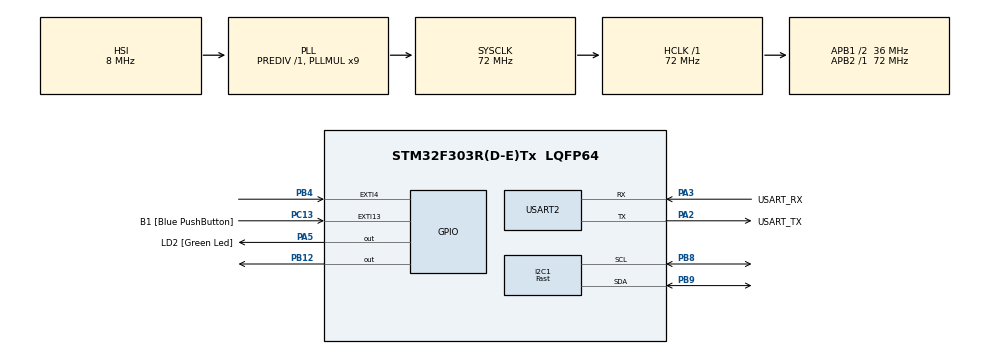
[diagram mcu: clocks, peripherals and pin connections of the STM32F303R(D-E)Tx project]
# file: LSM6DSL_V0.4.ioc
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I2C1.I2C_Speed_Mode=I2C_Fast
I2C1.Timing=0x0010020A
Mcu.Family=STM32F3
Mcu.Name=STM32F303R(D-E)Tx
Mcu.Package=LQFP64
NVIC.EXTI4_IRQn=true\:0\:0\:false\:false\:true\:true\:true\:true
NVIC.PriorityGroup=NVIC_PRIORITYGROUP_0
PA13.GPIO_Label=TMS
PA13.Mode=Trace_Asynchronous_SW
PA13.Signal=SYS_JTMS-SWDIO
PA14.GPIO_Label=TCK
PA14.Mode=Trace_Asynchronous_SW
PA14.Signal=SYS_JTCK-SWCLK
PA2.GPIO_Label=USART_TX
PA2.GPIO_Mode=GPIO_MODE_AF_PP
PA2.GPIO_PuPd=GPIO_NOPULL
PA2.GPIO_Speed=GPIO_SPEED_FREQ_LOW
PA2.Mode=Asynchronous
PA2.Signal=USART2_TX
PA3.GPIO_Label=USART_RX
PA3.GPIO_Mode=GPIO_MODE_AF_PP
PA3.GPIO_PuPd=GPIO_NOPULL
PA3.GPIO_Speed=GPIO_SPEED_FREQ_LOW
PA3.Mode=Asynchronous
PA3.Signal=USART2_RX
PA5.GPIO_Label=LD2 [Green Led]
PA5.GPIO_Mode=GPIO_MODE_OUTPUT_PP
PA5.GPIO_PuPd=GPIO_NOPULL
PA5.GPIO_Speed=GPIO_SPEED_FREQ_LOW
PA5.Signal=GPIO_Output
PB12.Signal=GPIO_Output
PB3.GPIO_Label=SWO
PB3.Mode=Trace_Asynchronous_SW
PB3.Signal=SYS_JTDO-TRACESWO
PB4.Signal=GPXTI4
PB8.GPIO_FM8=SYSCFG_CFGR1_I2C_PB8_FMP
PB8.GPIO_Pu=GPIO_PULLUP
PB8.Mode=I2C
PB8.Signal=I2C1_SCL
PB9.GPIO_FM9=SYSCFG_CFGR1_I2C_PB9_FMP
PB9.GPIO_Pu=GPIO_PULLUP
PB9.Mode=I2C
PB9.Signal=I2C1_SDA
PC13.GPIO_Label=B1 [Blue PushButton]
PC13.GPIO_ModeDefaultEXTI=GPIO_MODE_IT_FALLING
PC13.Signal=GPXTI13
PC14-OSC32_IN.Mode=LSE-External-Oscillator
PC14-OSC32_IN.Signal=RCC_OSC32_IN
PC15-OSC32_OUT.Mode=LSE-External-Oscillator
PC15-OSC32_OUT.Signal=RCC_OSC32_OUT
PF0-OSC_IN.Mode=HSE-External-Clock-Source
PF0-OSC_IN.Signal=RCC_OSC_IN
PF1-OSC_OUT.Signal=RCC_OSC_OUT
ProjectManager.HeapSize=0x200
ProjectManager.StackSize=0x400
ProjectManager.TargetToolchain=STM32CubeIDE
RCC.AHBFreq_Value=72000000
RCC.APB1CLKDivider=RCC_HCLK_DIV2
RCC.APB1Freq_Value=36000000
RCC.APB1TimFreq_Value=72000000
RCC.APB2Freq_Value=72000000
RCC.APB2TimFreq_Value=72000000
RCC.CortexFreq_Value=72000000
RCC.HCLKFreq_Value=72000000
RCC.HSE_VALUE=8000000
RCC.HSI_VALUE=8000000
RCC.PLLM=8
RCC.PLLMUL=RCC_PLL_MUL9
RCC.PLLN=336
RCC.PLLP=RCC_PLLP_DIV4
RCC.PLLQ=7
RCC.RCC_PLLsource_Clock_Source_FROM_HSE=RCC_HSE_PREDIV_DIV2
RCC.SYSCLKFreq_VALUE=72000000
RCC.SYSCLKSourceVirtual=RCC_SYSCLKSOURCE_PLLCLK
RCC.USBFreq_Value=72000000
USART2.VirtualMode-Asynchronous=VM_ASYNC
board=NUCLEO-F303RE

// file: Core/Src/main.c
/* USER CODE BEGIN Header */
/**
  ******************************************************************************
  * @file           : main.c
  * @brief          : Main program body
  ******************************************************************************
  * @attention
  *
  * Copyright (c) 2024 STMicroelectronics.
  * All rights reserved.
  *
  * This software is licensed under terms that can be found in the LICENSE file
  * in the root directory of this software component.
  * If no LICENSE file comes with this software, it is provided AS-IS.
  *
  ******************************************************************************
  */
/* USER CODE END Header */
#include "main.h"

/* USER CODE BEGIN Includes */
#include <stdio.h>
#include <string.h>
#include <stdbool.h>
/* USER CODE END Includes */

/* USER CODE BEGIN PD */
/** I2C Device Address 8 bit format  if SA0=0 -> D5 if SA0=1 -> D7 **/
#define LSM6DSL_I2C_ADD_W0                       0xD4U				//SA0=0
#define LSM6DSL_I2C_ADD_R0                       0xD5U				//SA0=0
#define LSM6DSL_I2C_ADD_W1                       0xD6U				//SA0=1
#define LSM6DSL_I2C_ADD_R1                       0xD7U				//SA0=1

/** Device Identification (Who am I) **/
#define LSM6DSL_ID                              0x6AU

#define LSM6DSL_FUNC_CFG_ACCESS                 0x01U
#define LSM6DSL_SENSOR_SYNC_TIME_FRAME          0x04U
#define LSM6DSL_SENSOR_SYNC_RES_RATIO           0x05U
#define LSM6DSL_FIFO_CTRL1                      0x06U
#define LSM6DSL_FIFO_CTRL2                      0x07U
#define LSM6DSL_FIFO_CTRL3                      0x08U
#define LSM6DSL_FIFO_CTRL4                      0x09U
#define LSM6DSL_FIFO_CTRL5                      0x0AU
#define LSM6DSL_DRDY_PULSE_CFG_G                0x0BU
#define LSM6DSL_INT1_CTRL                       0x0DU
#define LSM6DSL_INT2_CTRL                       0x0EU
#define LSM6DSL_WHO_AM_I                        0x0FU
#define LSM6DSL_CTRL1_XL                        0x10U
#define LSM6DSL_CTRL2_G                         0x11U
#define LSM6DSL_CTRL3_C                         0x12U
#define LSM6DSL_CTRL4_C                         0x13U
#define LSM6DSL_CTRL5_C                         0x14U
#define LSM6DSL_CTRL6_C                         0x15U
#define LSM6DSL_CTRL7_G                         0x16U
#define LSM6DSL_CTRL8_XL                        0x17U
#define LSM6DSL_CTRL9_XL                        0x18U
#define LSM6DSL_CTRL10_C                        0x19U
#define LSM6DSL_MASTER_CONFIG                   0x1AU
#define LSM6DSL_WAKE_UP_SRC                     0x1BU
#define LSM6DSL_TAP_SRC                         0x1CU
#define LSM6DSL_D6D_SRC                         0x1DU
#define LSM6DSL_STATUS_REG                      0x1EU

#define LSM6DSL_OUT_TEMP_L                      0x20U
#define LSM6DSL_OUT_TEMP_H                      0x21U
#define LSM6DSL_OUTX_L_G                        0x22U
#define LSM6DSL_OUTX_H_G                        0x23U
#define LSM6DSL_OUTY_L_G                        0x24U
#define LSM6DSL_OUTY_H_G                        0x25U
#define LSM6DSL_OUTZ_L_G                        0x26U
#define LSM6DSL_OUTZ_H_G                        0x27U
#define LSM6DSL_OUTX_L_XL                       0x28U
#define LSM6DSL_OUTX_H_XL                       0x29U
#define LSM6DSL_OUTY_L_XL                       0x2AU
#define LSM6DSL_OUTY_H_XL                       0x2BU
#define LSM6DSL_OUTZ_L_XL                       0x2CU
#define LSM6DSL_OUTZ_H_XL                       0x2DU
#define LSM6DSL_SENSORHUB1_REG                  0x2EU

#define LSM6DSL_SENSORHUB2_REG                  0x2FU
#define LSM6DSL_SENSORHUB3_REG                  0x30U
#define LSM6DSL_SENSORHUB4_REG                  0x31U
#define LSM6DSL_SENSORHUB5_REG                  0x32U
#define LSM6DSL_SENSORHUB6_REG                  0x33U
#define LSM6DSL_SENSORHUB7_REG                  0x34U
#define LSM6DSL_SENSORHUB8_REG                  0x35U
#define LSM6DSL_SENSORHUB9_REG                  0x36U
#define LSM6DSL_SENSORHUB10_REG                 0x37U
#define LSM6DSL_SENSORHUB11_REG                 0x38U
#define LSM6DSL_SENSORHUB12_REG                 0x39U
#define LSM6DSL_FIFO_STATUS1                    0x3AU
#define LSM6DSL_FIFO_STATUS2                    0x3BU
#define LSM6DSL_FIFO_STATUS3                    0x3CU

#define LSM6DSL_FIFO_DATA_OUT_L                 0x3EU
#define LSM6DSL_FIFO_DATA_OUT_H                 0x3FU
#define LSM6DSL_TIMESTAMP0_REG                  0x40U
#define LSM6DSL_TIMESTAMP1_REG                  0x41U
#define LSM6DSL_TIMESTAMP2_REG                  0x42U
#define LSM6DSL_STEP_TIMESTAMP_L                0x49U
#define LSM6DSL_STEP_TIMESTAMP_H                0x4AU
#define LSM6DSL_STEP_COUNTER_L                  0x4BU
#define LSM6DSL_STEP_COUNTER_H                  0x4CU

#define LSM6DSL_SENSORHUB13_REG                 0x4DU
#define LSM6DSL_SENSORHUB14_REG                 0x4EU
#define LSM6DSL_SENSORHUB15_REG                 0x4FU
#define LSM6DSL_SENSORHUB16_REG                 0x50U
#define LSM6DSL_SENSORHUB17_REG                 0x51U
#define LSM6DSL_SENSORHUB18_REG                 0x52U
#define LSM6DSL_FUNC_SRC1                       0x53U
#define LSM6DSL_FUNC_SRC2                       0x54U
#define LSM6DSL_WRIST_TILT_IA                   0x55U
#define LSM6DSL_TAP_CFG                         0x58U
#define LSM6DSL_TAP_THS_6D                      0x59U
#define LSM6DSL_INT_DUR2                        0x5AU
#define LSM6DSL_WAKE_UP_THS                     0x5BU
#define LSM6DSL_WAKE_UP_DUR                     0x5CU
#define LSM6DSL_FREE_FALL                       0x5DU
#define LSM6DSL_MD1_CFG                         0x5EU
#define LSM6DSL_MD2_CFG                         0x5FU
#define LSM6DSL_MASTER_CMD_CODE                 0x60U
#define LSM6DSL_SENS_SYNC_SPI_ERROR_CODE        0x61U
#define LSM6DSL_OUT_MAG_RAW_X_L                 0x66U
#define LSM6DSL_OUT_MAG_RAW_X_H                 0x67U
#define LSM6DSL_OUT_MAG_RAW_Y_L                 0x68U
#define LSM6DSL_OUT_MAG_RAW_Y_H                 0x69U
#define LSM6DSL_OUT_MAG_RAW_Z_L                 0x6AU
#define LSM6DSL_OUT_MAG_RAW_Z_H                 0x6BU
#define LSM6DSL_X_OFS_USR                       0x73U
#define LSM6DSL_Y_OFS_USR                       0x74U
#define LSM6DSL_Z_OFS_USR                       0x75U
#define LSM6DSL_SLV0_ADD                        0x02U

#define LSM6DSL_SLV0_SUBADD                     0x03U
#define LSM6DSL_SLAVE0_CONFIG                   0x04U
#define LSM6DSL_SLV1_ADD                        0x05U
#define LSM6DSL_SLV1_SUBADD                     0x06U
#define LSM6DSL_SLAVE1_CONFIG                   0x07U
#define LSM6DSL_SLV2_ADD                        0x08U
#define LSM6DSL_SLV2_SUBADD                     0x09U
#define LSM6DSL_SLAVE2_CONFIG                   0x0AU
#define LSM6DSL_SLV3_ADD                        0x0BU
#define LSM6DSL_SLV3_SUBADD                     0x0CU
#define LSM6DSL_SLAVE3_CONFIG                   0x0DU
#define LSM6DSL_DATAWRITE_SRC_MODE_SUB_SLV0     0x0EU
#define LSM6DSL_CONFIG_PEDO_THS_MIN             0x0FU
#define LSM6DSL_SM_THS                          0x13U
#define LSM6DSL_PEDO_DEB_REG                    0x14U

#define LSM6DSL_STEP_COUNT_DELTA                0x15U
#define LSM6DSL_MAG_SI_XX                       0x24U
#define LSM6DSL_MAG_SI_XY                       0x25U
#define LSM6DSL_MAG_SI_XZ                       0x26U
#define LSM6DSL_MAG_SI_YX                       0x27U
#define LSM6DSL_MAG_SI_YY                       0x28U
#define LSM6DSL_MAG_SI_YZ                       0x29U
#define LSM6DSL_MAG_SI_ZX                       0x2AU
#define LSM6DSL_MAG_SI_ZY                       0x2BU
#define LSM6DSL_MAG_SI_ZZ                       0x2CU
#define LSM6DSL_MAG_OFFX_L                      0x2DU
#define LSM6DSL_MAG_OFFX_H                      0x2EU
#define LSM6DSL_MAG_OFFY_L                      0x2FU
#define LSM6DSL_MAG_OFFY_H                      0x30U
#define LSM6DSL_MAG_OFFZ_L                      0x31U
#define LSM6DSL_MAG_OFFZ_H                      0x32U
#define LSM6DSL_A_WRIST_TILT_LAT                0x50U
#define LSM6DSL_A_WRIST_TILT_THS                0x54U
#define LSM6DSL_A_WRIST_TILT_MASK               0x59U
#define PROPERTY_DISABLE                        0U
#define PROPERTY_ENABLE                         1U
#define LSM6DSL_ADDR                            (0xD4 >> 1)

#define NOT_OK (0x0)
#define OK     (0x1)

// Accelerometer and Gyroscope settings
#define LSM6DSL_XL_ODR_104Hz     0x40   // Accelerometer ODR 104 Hz
#define LSM6DSL_GY_ODR_104Hz     0x40   // Gyroscope ODR 104 Hz
#define LSM6DSL_2g               0x00   // Full scale 2g for accelerometer
#define LSM6DSL_2000dps          0x0C   // Full scale 2000dps for gyroscope
/* USER CODE END PD */

I2C_HandleTypeDef hi2c1;

UART_HandleTypeDef huart2;

/* USER CODE BEGIN PV */
uint8_t i2c_rx_buffer[6];  // To store accelerometer or gyroscope data
bool data_ready;
/* USER CODE END PV */

void SystemClock_Config(void);
static void MX_GPIO_Init(void);
static void MX_USART2_UART_Init(void);
static void MX_I2C1_Init(void);
/* USER CODE BEGIN PFP */
void DataOver_UART(int16_t ax, int16_t ay, int16_t az, int16_t gx, int16_t gy, int16_t gz);

uint8_t LSM6DSL_init(void);
void LSM6DSL_ReadGyro(int16_t* gx, int16_t* gy, int16_t* gz);
void LSM6DSL_ReadAccel(int16_t* ax, int16_t* ay, int16_t* az);
void LSM6DSL_write_register(uint8_t reg, uint8_t data);
uint8_t LSM6DSL_read_register(uint8_t reg);
uint8_t LSM6DSL_get_ID(void);
void LSM6DSL_set_sw_reset(uint8_t enable);
void LSM6DSL_set_data_rate_xl(uint8_t data_rate);
void LSM6DSL_set_full_scale_xl(uint8_t full_scale);
void LSM6DSL_set_data_rate_gy(uint8_t data_rate);
void LSM6DSL_set_full_scale_gy(uint8_t full_scale);
void LSM6DSL_set_block_data_update(uint8_t enable);
void LSM6DSL_set_block_data_update(uint8_t enable);

void LSM6DSL_EnableInterrupts(void);
/* USER CODE END PFP */

int main(void)
{

  /* MCU Configuration--------------------------------------------------------*/

  /* Reset of all peripherals, Initializes the Flash interface and the Systick. */
  HAL_Init();

  /* Configure the system clock */
  SystemClock_Config();

  /* Initialize all configured peripherals */
  MX_GPIO_Init();
  MX_USART2_UART_Init();
  MX_I2C1_Init();
  /* USER CODE BEGIN 2 */
  LSM6DSL_init();
  LSM6DSL_EnableInterrupts();

  int16_t gyro_x, gyro_y, gyro_z;
  int16_t accel_x, accel_y, accel_z;

  /* USER CODE END 2 */

  /* Infinite loop */
  while (1)
  {

    /* USER CODE BEGIN 3 */
	  if (data_ready == true)
	  {
//	     data_ready = 0;

	     int16_t accel_x = (int16_t)(i2c_rx_buffer[1] << 8 | i2c_rx_buffer[0]);
	     int16_t accel_y = (int16_t)(i2c_rx_buffer[3] << 8 | i2c_rx_buffer[2]);
	     int16_t accel_z = (int16_t)(i2c_rx_buffer[5] << 8 | i2c_rx_buffer[4]);

	     // send data over uart
	     DataOver_UART(accel_x, accel_y, accel_z, gyro_x, gyro_y, gyro_z);
	  }

	  // Read gyroscope data
//	  LSM6DSL_ReadGyro(&gyro_x, &gyro_y, &gyro_z);

	  // Read accelerometer data
//	  LSM6DSL_ReadAccel(&accel_x, &accel_y, &accel_z);

	  // send data over uart
//	  DataOver_UART(accel_x, accel_y, accel_z, gyro_x, gyro_y, gyro_z);

	  //delay
	  HAL_Delay(500);

  }
  /* USER CODE END 3 */
}

void SystemClock_Config(void)
{
  RCC_OscInitTypeDef RCC_OscInitStruct = {0};
  RCC_ClkInitTypeDef RCC_ClkInitStruct = {0};
  RCC_PeriphCLKInitTypeDef PeriphClkInit = {0};

  /** Initializes the RCC Oscillators according to the specified parameters
  * in the RCC_OscInitTypeDef structure.
  */
  RCC_OscInitStruct.OscillatorType = RCC_OSCILLATORTYPE_HSI;
  RCC_OscInitStruct.HSIState = RCC_HSI_ON;
  RCC_OscInitStruct.HSICalibrationValue = RCC_HSICALIBRATION_DEFAULT;
  RCC_OscInitStruct.PLL.PLLState = RCC_PLL_ON;
  RCC_OscInitStruct.PLL.PLLSource = RCC_PLLSOURCE_HSI;
  RCC_OscInitStruct.PLL.PLLMUL = RCC_PLL_MUL9;
  RCC_OscInitStruct.PLL.PREDIV = RCC_PREDIV_DIV1;
  if (HAL_RCC_OscConfig(&RCC_OscInitStruct) != HAL_OK)
  {
    Error_Handler();
  }

  /** Initializes the CPU, AHB and APB buses clocks
  */
  RCC_ClkInitStruct.ClockType = RCC_CLOCKTYPE_HCLK|RCC_CLOCKTYPE_SYSCLK
                              |RCC_CLOCKTYPE_PCLK1|RCC_CLOCKTYPE_PCLK2;
  RCC_ClkInitStruct.SYSCLKSource = RCC_SYSCLKSOURCE_PLLCLK;
  RCC_ClkInitStruct.AHBCLKDivider = RCC_SYSCLK_DIV1;
  RCC_ClkInitStruct.APB1CLKDivider = RCC_HCLK_DIV2;
  RCC_ClkInitStruct.APB2CLKDivider = RCC_HCLK_DIV1;

  if (HAL_RCC_ClockConfig(&RCC_ClkInitStruct, FLASH_LATENCY_2) != HAL_OK)
  {
    Error_Handler();
  }
  PeriphClkInit.PeriphClockSelection = RCC_PERIPHCLK_USART2|RCC_PERIPHCLK_I2C1;
  PeriphClkInit.Usart2ClockSelection = RCC_USART2CLKSOURCE_PCLK1;
  PeriphClkInit.I2c1ClockSelection = RCC_I2C1CLKSOURCE_HSI;
  if (HAL_RCCEx_PeriphCLKConfig(&PeriphClkInit) != HAL_OK)
  {
    Error_Handler();
  }
}

static void MX_I2C1_Init(void)
{

  hi2c1.Instance = I2C1;
  hi2c1.Init.Timing = 0x0010020A;
  hi2c1.Init.OwnAddress1 = 0;
  hi2c1.Init.AddressingMode = I2C_ADDRESSINGMODE_7BIT;
  hi2c1.Init.DualAddressMode = I2C_DUALADDRESS_DISABLE;
  hi2c1.Init.OwnAddress2 = 0;
  hi2c1.Init.OwnAddress2Masks = I2C_OA2_NOMASK;
  hi2c1.Init.GeneralCallMode = I2C_GENERALCALL_DISABLE;
  hi2c1.Init.NoStretchMode = I2C_NOSTRETCH_DISABLE;
  if (HAL_I2C_Init(&hi2c1) != HAL_OK)
  {
    Error_Handler();
  }

  /** Configure Analogue filter
  */
  if (HAL_I2CEx_ConfigAnalogFilter(&hi2c1, I2C_ANALOGFILTER_ENABLE) != HAL_OK)
  {
    Error_Handler();
  }

  /** Configure Digital filter
  */
  if (HAL_I2CEx_ConfigDigitalFilter(&hi2c1, 0) != HAL_OK)
  {
    Error_Handler();
  }

}

static void MX_USART2_UART_Init(void)
{

  huart2.Instance = USART2;
  huart2.Init.BaudRate = 38400;
  huart2.Init.WordLength = UART_WORDLENGTH_8B;
  huart2.Init.StopBits = UART_STOPBITS_1;
  huart2.Init.Parity = UART_PARITY_NONE;
  huart2.Init.Mode = UART_MODE_TX_RX;
  huart2.Init.HwFlowCtl = UART_HWCONTROL_NONE;
  huart2.Init.OverSampling = UART_OVERSAMPLING_16;
  huart2.Init.OneBitSampling = UART_ONE_BIT_SAMPLE_DISABLE;
  huart2.AdvancedInit.AdvFeatureInit = UART_ADVFEATURE_NO_INIT;
  if (HAL_UART_Init(&huart2) != HAL_OK)
  {
    Error_Handler();
  }

}

static void MX_GPIO_Init(void)
{
  GPIO_InitTypeDef GPIO_InitStruct = {0};

  /* GPIO Ports Clock Enable */
  __HAL_RCC_GPIOC_CLK_ENABLE();
  __HAL_RCC_GPIOF_CLK_ENABLE();
  __HAL_RCC_GPIOA_CLK_ENABLE();
  __HAL_RCC_GPIOB_CLK_ENABLE();

  /*Configure GPIO pin Output Level */
  HAL_GPIO_WritePin(LD2_GPIO_Port, LD2_Pin, GPIO_PIN_RESET);

  /*Configure GPIO pin Output Level */
  HAL_GPIO_WritePin(GPIOB, GPIO_PIN_12, GPIO_PIN_RESET);

  /*Configure GPIO pin : B1_Pin */
  GPIO_InitStruct.Pin = B1_Pin;
  GPIO_InitStruct.Mode = GPIO_MODE_IT_FALLING;
  GPIO_InitStruct.Pull = GPIO_NOPULL;
  HAL_GPIO_Init(B1_GPIO_Port, &GPIO_InitStruct);

  /*Configure GPIO pin : LD2_Pin */
  GPIO_InitStruct.Pin = LD2_Pin;
  GPIO_InitStruct.Mode = GPIO_MODE_OUTPUT_PP;
  GPIO_InitStruct.Pull = GPIO_NOPULL;
  GPIO_InitStruct.Speed = GPIO_SPEED_FREQ_LOW;
  HAL_GPIO_Init(LD2_GPIO_Port, &GPIO_InitStruct);

  /*Configure GPIO pin : PB12 */
  GPIO_InitStruct.Pin = GPIO_PIN_12;
  GPIO_InitStruct.Mode = GPIO_MODE_OUTPUT_PP;
  GPIO_InitStruct.Pull = GPIO_NOPULL;
  GPIO_InitStruct.Speed = GPIO_SPEED_FREQ_LOW;
  HAL_GPIO_Init(GPIOB, &GPIO_InitStruct);

  /*Configure GPIO pin : PB4 */
  GPIO_InitStruct.Pin = GPIO_PIN_4;
  GPIO_InitStruct.Mode = GPIO_MODE_IT_RISING;
  GPIO_InitStruct.Pull = GPIO_NOPULL;
  HAL_GPIO_Init(GPIOB, &GPIO_InitStruct);

  /* EXTI interrupt init*/
  HAL_NVIC_SetPriority(EXTI4_IRQn, 0, 0);
  HAL_NVIC_EnableIRQ(EXTI4_IRQn);

}

/* USER CODE BEGIN 4 */

/**
  * @brief LSM6DSL_Init Initialization Function
  */
// Initialize the LSM6DSL sensor
uint8_t LSM6DSL_init(void) {
    uint8_t rv = 0;    // return value indicating failure

    // Set chip select (if using SPI, otherwise not needed for I2C)
    HAL_GPIO_WritePin(GPIOA, GPIO_PIN_9, GPIO_PIN_SET);   // Assume PA9 is CS for SPI, not used for I2C

    // Check if the device ID matches the expected ID
    if (LSM6DSL_get_ID() == LSM6DSL_ID) {
        LSM6DSL_set_sw_reset(true);                      // Reset the sensor

        // Set accelerometer and gyroscope settings
        LSM6DSL_set_data_rate_xl(LSM6DSL_XL_ODR_104Hz);
        LSM6DSL_set_full_scale_xl(LSM6DSL_2g);
        LSM6DSL_set_data_rate_gy(LSM6DSL_GY_ODR_104Hz);
        LSM6DSL_set_full_scale_gy(LSM6DSL_2000dps);

        // Enable block data update to prevent partial reads
        LSM6DSL_set_block_data_update(true);

        rv = OK;         // Initialization successful
    }

   return rv;
}

// Enable Data Ready Interrupt on INT1 Pin for accelerometer (XL) and gyroscope (G)
void LSM6DSL_EnableInterrupts(void)
{
    uint8_t data;

    // Configure INT1_CTRL (0x0D): Enable interrupt for accelerometer and gyroscope data ready
    data = 0x03;  // Bit 0 = 1 (XL_DRDY), Bit 1 = 1 (G_DRDY)
    HAL_I2C_Mem_Write(&hi2c1, LSM6DSL_ADDR, LSM6DSL_INT1_CTRL, 1, &data, 1, HAL_MAX_DELAY);

    // CTRL3_C (0x12): Enable interrupts, auto increment register address during multi-byte read
    data = 0x0C;  // Set IF_INC bit (auto increment)
    HAL_I2C_Mem_Write(&hi2c1, LSM6DSL_ADDR, LSM6DSL_CTRL3_C, 1, &data, 1, HAL_MAX_DELAY);
}

// Interrupt callback for EXTI (from LSM6DSL INT1)
void HAL_GPIO_EXTI_Callback(uint16_t GPIO_Pin)
{
    if(GPIO_Pin == GPIO_PIN_4)  // connected to INT1
    {
        // Start I2C read operation to get data from the LSM6DSL
        // Reading 6 bytes (e.g., accelerometer data from OUTX_L_XL register)
        HAL_I2C_Mem_Read_IT(&hi2c1, LSM6DSL_ADDR, LSM6DSL_OUTX_L_XL, 1, i2c_rx_buffer, 6);
    }
}

// Callback function when I2C read is complete
void HAL_I2C_MemRxCpltCallback(I2C_HandleTypeDef *hi2c)
{
    if(hi2c->Instance == I2C1)  // Check if this is I2C1
    {
    	data_ready = true;

    }
}

/**
  * @brief LSM6DSL_ReadGyro Initialization Function
  */
//void LSM6DSL_ReadGyro(int16_t* gx, int16_t* gy, int16_t* gz)
//{
//
//    // Read 6 bytes of gyro data (OUTX_L_G to OUTZ_H_G)
//
//    uint8_t p_buf_rx[6];
//
//        HAL_I2C_Mem_Read(&hi2c1, LSM6DSL_ADDR, LSM6DSL_OUTX_L_G, I2C_MEMADD_SIZE_8BIT, &p_buf_rx[0], 1, HAL_MAX_DELAY);
//        HAL_I2C_Mem_Read(&hi2c1, LSM6DSL_ADDR, LSM6DSL_OUTX_H_G, I2C_MEMADD_SIZE_8BIT, &p_buf_rx[1], 1, HAL_MAX_DELAY);
//        HAL_I2C_Mem_Read(&hi2c1, LSM6DSL_ADDR, LSM6DSL_OUTY_L_G, I2C_MEMADD_SIZE_8BIT, &p_buf_rx[2], 1, HAL_MAX_DELAY);
//        HAL_I2C_Mem_Read(&hi2c1, LSM6DSL_ADDR, LSM6DSL_OUTY_H_G, I2C_MEMADD_SIZE_8BIT, &p_buf_rx[3], 1, HAL_MAX_DELAY);
//        HAL_I2C_Mem_Read(&hi2c1, LSM6DSL_ADDR, LSM6DSL_OUTZ_L_G, I2C_MEMADD_SIZE_8BIT, &p_buf_rx[4], 1, HAL_MAX_DELAY);
//        HAL_I2C_Mem_Read(&hi2c1, LSM6DSL_ADDR, LSM6DSL_OUTZ_H_G, I2C_MEMADD_SIZE_8BIT, &p_buf_rx[5], 1, HAL_MAX_DELAY);
//
//
//    // Combine low and high bytes to get 16-bit gyroscope values
//    *gx = (int16_t)(p_buf_rx[0] | p_buf_rx[1] << 8);
//    *gy = (int16_t)(p_buf_rx[2] | p_buf_rx[3] << 8);
//    *gz = (int16_t)(p_buf_rx[4] | p_buf_rx[5] << 8);
//}

/**
  * @brief LSM6DSL_ReadAccel Initialization Function
  */
//void LSM6DSL_ReadAccel(int16_t* ax, int16_t* ay, int16_t* az)
//{
//
//    // Read 6 bytes of accelerometer data (OUTX_L_XL to OUTZ_H_XL)
//    uint8_t p_buf_tx[] = { LSM6DSL_OUTX_L_XL, LSM6DSL_OUTX_H_XL,
//        						LSM6DSL_OUTY_L_XL, LSM6DSL_OUTY_H_XL,
//    							LSM6DSL_OUTZ_L_XL, LSM6DSL_OUTZ_H_XL };
//    uint8_t p_buf_rx[6];
//
//    HAL_I2C_Mem_Read(&hi2c1, LSM6DSL_ADDR, p_buf_tx[0], I2C_MEMADD_SIZE_8BIT, &p_buf_rx[0], 1, HAL_MAX_DELAY);
//    HAL_I2C_Mem_Read(&hi2c1, LSM6DSL_ADDR, p_buf_tx[1], I2C_MEMADD_SIZE_8BIT, &p_buf_rx[1], 1, HAL_MAX_DELAY);
//    HAL_I2C_Mem_Read(&hi2c1, LSM6DSL_ADDR, p_buf_tx[2], I2C_MEMADD_SIZE_8BIT, &p_buf_rx[2], 1, HAL_MAX_DELAY);
//    HAL_I2C_Mem_Read(&hi2c1, LSM6DSL_ADDR, p_buf_tx[3], I2C_MEMADD_SIZE_8BIT, &p_buf_rx[3], 1, HAL_MAX_DELAY);
//    HAL_I2C_Mem_Read(&hi2c1, LSM6DSL_ADDR, p_buf_tx[4], I2C_MEMADD_SIZE_8BIT, &p_buf_rx[4], 1, HAL_MAX_DELAY);
//    HAL_I2C_Mem_Read(&hi2c1, LSM6DSL_ADDR, p_buf_tx[5], I2C_MEMADD_SIZE_8BIT, &p_buf_rx[5], 1, HAL_MAX_DELAY);
//
//    // Combine low and high bytes to get 16-bit accelerometer values
//    *ax = (int16_t)(p_buf_rx[0] | p_buf_rx[1] << 8);
//    *ay = (int16_t)(p_buf_rx[2] | p_buf_rx[3] << 8);
//    *az = (int16_t)(p_buf_rx[4] | p_buf_rx[5] << 8);
//}

// Helper function to write data to a specific register
void LSM6DSL_write_register(uint8_t reg, uint8_t data) {
    HAL_I2C_Mem_Write(&hi2c1, LSM6DSL_ADDR, reg, I2C_MEMADD_SIZE_8BIT, &data, 1, HAL_MAX_DELAY);
}

// Helper function to read data from a specific register
uint8_t LSM6DSL_read_register(uint8_t reg) {
    uint8_t data;
    HAL_I2C_Mem_Read(&hi2c1, LSM6DSL_ADDR, reg, I2C_MEMADD_SIZE_8BIT, &data, 1, HAL_MAX_DELAY);
    return data;
}

// Get the ID of the LSM6DSL sensor
uint8_t LSM6DSL_get_ID(void) {
	uint8_t newData;
//    return LSM6DSL_read_register(LSM6DSL_WHO_AM_I);
    HAL_I2C_Mem_Read(&hi2c1, LSM6DSL_ADDR, LSM6DSL_WHO_AM_I, I2C_MEMADD_SIZE_8BIT, &newData, 1, HAL_MAX_DELAY);
    return newData;

}

// Perform a software reset on the LSM6DSL sensor
void LSM6DSL_set_sw_reset(uint8_t enable) {
    uint8_t ctrl3_c = LSM6DSL_read_register(LSM6DSL_CTRL3_C);
    if (enable) {
        ctrl3_c |= 0x01;  // Set the SW_RESET bit
    } else {
        ctrl3_c &= ~0x01; // Clear the SW_RESET bit
    }
    LSM6DSL_write_register(LSM6DSL_CTRL3_C, ctrl3_c);
}

// Set accelerometer data rate and full scale
void LSM6DSL_set_data_rate_xl(uint8_t data_rate) {
    uint8_t ctrl1_xl = LSM6DSL_read_register(LSM6DSL_CTRL1_XL);
    ctrl1_xl = (ctrl1_xl & ~0xF0) | data_rate;  // Mask and set ODR bits
    LSM6DSL_write_register(LSM6DSL_CTRL1_XL, ctrl1_xl);
}

void LSM6DSL_set_full_scale_xl(uint8_t full_scale) {
    uint8_t ctrl1_xl = LSM6DSL_read_register(LSM6DSL_CTRL1_XL);
    ctrl1_xl = (ctrl1_xl & ~0x0C) | full_scale;  // Mask and set full-scale bits
    LSM6DSL_write_register(LSM6DSL_CTRL1_XL, ctrl1_xl);
}

// Set gyroscope data rate and full scale
void LSM6DSL_set_data_rate_gy(uint8_t data_rate) {
    uint8_t ctrl2_g = LSM6DSL_read_register(LSM6DSL_CTRL2_G);
    ctrl2_g = (ctrl2_g & ~0xF0) | data_rate;  // Mask and set ODR bits
    LSM6DSL_write_register(LSM6DSL_CTRL2_G, ctrl2_g);
}

void LSM6DSL_set_full_scale_gy(uint8_t full_scale) {
    uint8_t ctrl2_g = LSM6DSL_read_register(LSM6DSL_CTRL2_G);
    ctrl2_g = (ctrl2_g & ~0x0C) | full_scale;  // Mask and set full-scale bits
    LSM6DSL_write_register(LSM6DSL_CTRL2_G, ctrl2_g);
}

// Enable/Disable block data update
void LSM6DSL_set_block_data_update(uint8_t enable) {
    uint8_t ctrl3_c = LSM6DSL_read_register(LSM6DSL_CTRL3_C);
    if (enable) {
        ctrl3_c |= 0x40;  // Set the BDU bit (Block Data Update)
    } else {
        ctrl3_c &= ~0x40; // Clear the BDU bit
    }
    LSM6DSL_write_register(LSM6DSL_CTRL3_C, ctrl3_c);
}

/**
  * @brief UART_Transmit Data
  */
void DataOver_UART(int16_t ax, int16_t ay, int16_t az, int16_t gx, int16_t gy, int16_t gz)
{
	// Prepare data string
	char uart_buff[96];
	int buff_length;

	buff_length = snprintf(uart_buff, sizeof(uart_buff),
									"Acce: x=%d y=%d z=%d | Gyro: x=%d y=%d z=%d \r\n",
									ax, ay, az, gx, gy, gz);

	HAL_UART_Transmit(&huart2, (uint8_t*)uart_buff, buff_length, HAL_MAX_DELAY);

}

/* USER CODE END 4 */

void Error_Handler(void)
{
  __disable_irq();
  while (1)
  {
  }
}
